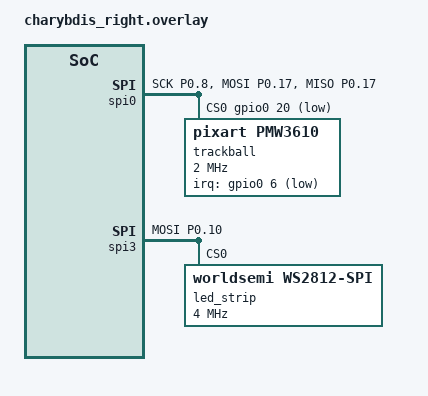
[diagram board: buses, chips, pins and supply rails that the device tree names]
/*
 * Copyright (c) 2020 ZMK Contributors
 *
 * SPDX-License-Identifier: MIT
 */

#include <zephyr/dt-bindings/input/input-event-codes.h>
#include <input/processors.dtsi>

#include "charybdis.dtsi"

&default_transform {
    col-offset = <6>;
}; 

&kscan0 {
	col-gpios
		= <&gpio0 2 (GPIO_ACTIVE_HIGH | GPIO_PULL_DOWN)>
		, <&gpio0 29 (GPIO_ACTIVE_HIGH | GPIO_PULL_DOWN)>
		, <&gpio0 9 (GPIO_ACTIVE_HIGH | GPIO_PULL_DOWN)>
		, <&gpio1 0  (GPIO_ACTIVE_HIGH | GPIO_PULL_DOWN)>
		, <&gpio0 11 (GPIO_ACTIVE_HIGH | GPIO_PULL_DOWN)>
		, <&gpio1 4  (GPIO_ACTIVE_HIGH | GPIO_PULL_DOWN)>
		;
};

// trackball bus
&pinctrl {
    spi0_default: spi0_default {
        group1 {
            psels = <NRF_PSEL(SPIM_SCK, 0, 8)>,
                <NRF_PSEL(SPIM_MOSI, 0, 17)>,
                <NRF_PSEL(SPIM_MISO, 0, 17)>;
        };
    };

    spi0_sleep: spi0_sleep {
        group1 {
            psels = <NRF_PSEL(SPIM_SCK, 0, 8)>,
                <NRF_PSEL(SPIM_MOSI, 0, 17)>,
                <NRF_PSEL(SPIM_MISO, 0, 17)>;
            low-power-enable;
        };
    };
};

&spi0 {
    status = "okay";
    compatible = "nordic,nrf-spim";
    pinctrl-0 = <&spi0_default>;
    pinctrl-1 = <&spi0_sleep>;
    pinctrl-names = "default", "sleep";
    cs-gpios = <&gpio0 20 GPIO_ACTIVE_LOW>;

    trackball: trackball@0 {
        status = "okay";
        compatible = "pixart,pmw3610";
        reg = <0>;
        spi-max-frequency = <2000000>;
        irq-gpios = <&gpio0 6 (GPIO_ACTIVE_LOW | GPIO_PULL_UP)>;
        // badjeff driver: CPI + axis mapping live in devicetree, and there are
        // NO snipe-layers/scroll-layers anymore. Pointer speed modes are key
        // behaviors on the trackball_listener below (see charybdis.keymap);
        // scroll mode is the layer-11-scoped scroller child on the listener.
        // cpi 400 + swap-xy/invert-x/invert-y reproduces the old
        // ORIENTATION_90 + INVERT_X mapping exactly (x=-raw_y, y=-raw_x).
        cpi = <400>;
        swap-xy;
        invert-x;
        invert-y;
        evt-type = <INPUT_EV_REL>;
        x-input-code = <INPUT_REL_X>;
        y-input-code = <INPUT_REL_Y>;
        // Keep the sensor awake at 4ms sampling (250Hz) while ZMK is ACTIVE,
        // downshift to power saving when idle (replaces POLLING_RATE_250).
        force-awake;
        force-awake-4ms-mode;
    };
};


//RGB bus
&pinctrl {
    spi3_default: spi3_default {
        group1 {
            psels = <NRF_PSEL(SPIM_MOSI, 0, 10)>;
        };
    };

    spi3_sleep: spi3_sleep {
        group1 {
            psels = <NRF_PSEL(SPIM_MOSI, 0, 10)>;
            low-power-enable;
        };
    };
};

&spi3 {
    compatible = "nordic,nrf-spim";
    status = "okay";

    pinctrl-0 = <&spi3_default>;
    pinctrl-1 = <&spi3_sleep>;
    pinctrl-names = "default", "sleep";

    led_strip: ws2812@0 {
        compatible = "worldsemi,ws2812-spi";

        /* SPI */
        reg = <0>; /* ignored, but necessary for SPI bindings */
        spi-max-frequency = <4000000>;

        /* WS2812 */
        chain-length = <27>; /* number of LEDs */
        spi-one-frame = <0x70>;
        spi-zero-frame = <0x40>;
        color-mapping = <LED_COLOR_ID_GREEN
                         LED_COLOR_ID_RED
                         LED_COLOR_ID_BLUE>;
    };
};



/ {
    // jump_accel is defined in charybdis.keymap (shared file) but wired onto
    // this listener here, in the right-only overlay, since trackball_listener
    // doesn't exist on the left shield's build.
    //
    // Chain order: jump_accel sees raw sensor counts first (its cps thresholds
    // stay calibrated), then the pipeline switch (cursor/snipe/fast, driven by
    // the &bmode-based mode keys in charybdis.keymap).
    trackball_listener: trackball_listener {
        compatible = "zmk,input-listener";
        device = <&trackball>;
        input-processors = <&jump_accel &zip_ball_mode>;

        // L11 is a dedicated all-transparent scroll mode layer — holding any
        // @scroll:LX:hold key activates L11 (transparent, so LX bindings show
        // through) and this layer-scoped child turns ball motion into scroll.
        // Scroll scaler is <multiplier divisor>: 1/2 = half-speed scroll.
        // track-remainders carries sub-tick fractions, so no dead zone.
        scroller {
            layers = <11>;
            input-processors = <&zip_xy_to_scroll_mapper &zip_scroll_scaler 1 2>;
        };
    };
};


